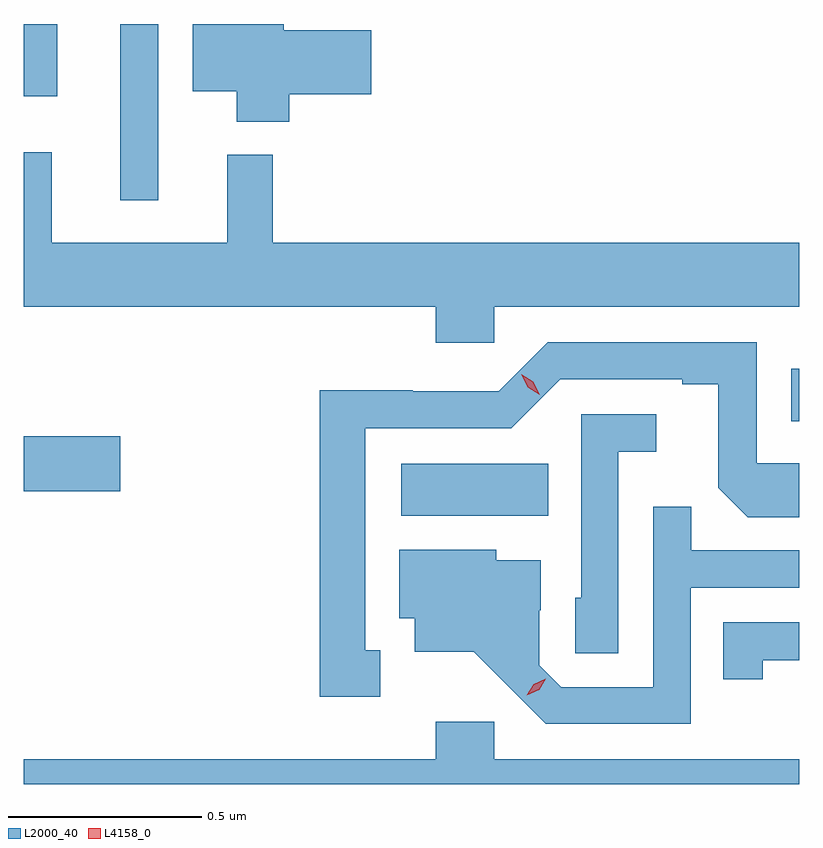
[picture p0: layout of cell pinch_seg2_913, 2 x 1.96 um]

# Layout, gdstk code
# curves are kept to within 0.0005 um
import gdstk
lib = gdstk.Library(unit=1e-6, precision=1e-09)
def R(c, l, rs):  # rectangles x0, y0, x1, y1
    for r in rs: c.add(gdstk.rectangle(r[:2], r[2:], *l))
def P(c, l, *ps):  # polygons
    for p in ps: c.add(gdstk.Polygon(p, *l))
L2000_40 = (2000, 40)
L4158_0 = (4158, 0)

pinch_seg2_913 = lib.new_cell('pinch_seg2_913')
R(pinch_seg2_913, L2000_40, [(382.464,584.492,382.844,584.626), (381.491,584.555,381.739,584.697), (383.471,584.736,383.491,584.872), (381.74,585.306,381.837,585.761), (381.491,585.575,381.577,585.761)])
P(pinch_seg2_913, L2000_40, [(382.175,585.58),(382.387,585.58),(382.387,585.745),(382.162,585.745),(382.162,585.761),(381.926,585.761),(381.926,585.587),(382.04,585.587),(382.04,585.509),(382.175,585.509)],
  [(382.704,585.032),(383.491,585.032),(383.491,585.196),(382.133,585.196),(382.133,585.424),(382.016,585.424),(382.016,585.196),(381.563,585.196),(381.563,585.43),(381.491,585.43),(381.491,585.032),(382.553,585.032),(382.553,584.939),(382.704,584.939)],
  [(382.411,584.145),(382.372,584.145),(382.372,584.718),(382.749,584.718),(382.875,584.844),(383.189,584.844),(383.189,584.832),(383.283,584.832),(383.283,584.564),(383.359,584.488),(383.491,584.488),(383.491,584.628),(383.382,584.628),(383.382,584.94),(382.842,584.94),(382.716,584.814),(382.494,584.814),(382.494,584.816),(382.254,584.816),(382.254,584.025),(382.411,584.025)],
  [(383.025,584.657),(383.122,584.657),(383.122,584.754),(382.929,584.754),(382.929,584.28),(382.914,584.28),(382.914,584.137),(383.025,584.137)],
  [(383.211,584.307),(383.491,584.307),(383.491,584.403),(383.213,584.403),(383.213,584.516),(383.115,584.516),(383.115,584.049),(382.878,584.049),(382.821,584.106),(382.821,584.248),(382.825,584.248),(382.825,584.377),(382.71,584.377),(382.71,584.404),(382.46,584.404),(382.46,584.228),(382.499,584.228),(382.499,584.141),(382.651,584.141),(382.838,583.956),(383.211,583.956)],
  [(383.397,584.119),(383.491,584.119),(383.491,584.217),(383.296,584.217),(383.296,584.07),(383.397,584.07)],
  [(383.491,583.864),(382.704,583.864),(382.704,583.96),(382.553,583.96),(382.553,583.864),(381.491,583.864),(381.491,583.8),(383.491,583.8)])
P(pinch_seg2_913, L4158_0, [(382.789,584.029),(382.789,584.029),(382.807,584.058),(382.838,584.072),(382.838,584.072),(382.838,584.072),(382.82,584.043),(382.789,584.029)],
  [(382.822,584.805),(382.791,584.824),(382.774,584.857),(382.774,584.857),(382.774,584.857),(382.805,584.838),(382.822,584.805),(382.822,584.805)])

lib.write_gds('pinch_seg2_913.gds')
